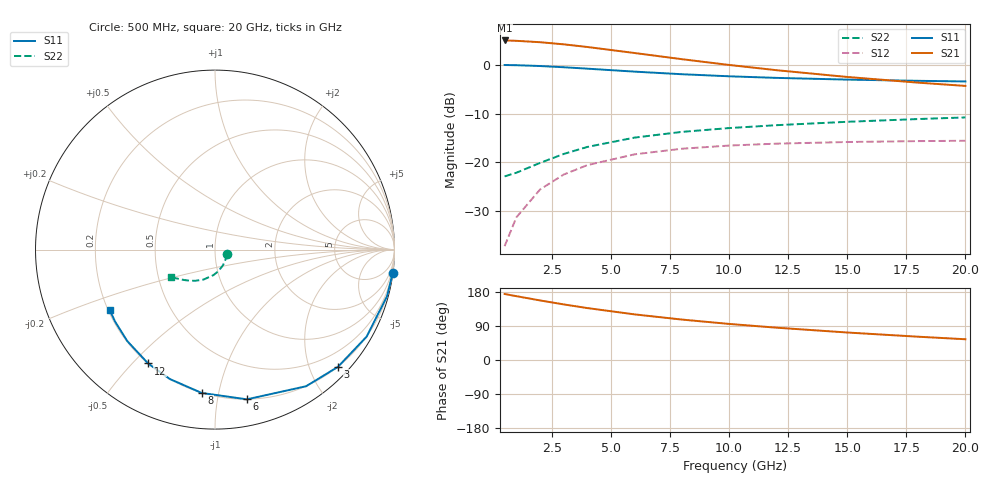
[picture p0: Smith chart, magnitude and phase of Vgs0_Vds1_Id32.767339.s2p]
# Hz S RI R 50
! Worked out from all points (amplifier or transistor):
!   12 points, 500 MHz to 20 GHz, reference 50 ohm
!   highest |S21| = 5.0 dB at 500 MHz (marker M1)
!   |S21| within 3 dB of that: start of sweep to 6.656 GHz
!   unconditionally stable (mu >= 1): 7.987 GHz to end of sweep
!   at 2 GHz: K = 0.25, MSG = 15.2 dB, |S12| = -25.6 dB
!   at 8 GHz: K = 1.00, MAG = 9.0 dB, |S12| = -17.2 dB
!   at 20 GHz: K = 2.33, MAG = -0.8 dB, |S12| = -15.6 dB
!   S11 on the Smith chart (normalised r, x): 500 MHz: 0, -15; 3 GHz: 0.20, -2.48; 6 GHz: 0.20, -1.22; 8 GHz: 0.20, -0.89; 12 GHz: 0.20, -0.55; 20 GHz: 0.21, -0.25
5e8  0.9894 -0.1325  -1.776 0.1812  0.00117 0.0136  0.0673 -0.0236
1e9  0.9584 -0.2602  -1.734 0.3558  0.00461 0.0267  0.0624 -0.0465
2e9  0.8446 -0.4851  -1.579 0.6636  0.0172 0.0494  0.0444 -0.0875
3e9  0.6849 -0.6533  -1.361 0.8939  0.0349 0.0658  0.019 -0.1198
4e9  0.5076 -0.7613  -1.12 1.042  0.0544 0.0755  -0.00954 -0.1429
6e9  0.1775 -0.8343  -0.6708 1.144  0.0907 0.079  -0.0641 -0.1668
8e9  -0.0746 -0.7986  -0.329 1.097  0.1179 0.0703  -0.1082 -0.1736
1e10  -0.2511 -0.7213  -0.0908 0.995  0.1365 0.0573  -0.1423 -0.173
1.2e10  -0.3727 -0.6342  0.0719 0.8799  0.1487 0.0432  -0.1693 -0.1698
1.5e10  -0.489 -0.5094  0.2255 0.717  0.1593 0.0232  -0.2018 -0.1636
1.8e10  -0.5575 -0.3998  0.3139 0.5772  0.1643 0.00519  -0.229 -0.1566
2e10  -0.5869 -0.3351  0.3509 0.4966  0.1657 -0.00563  -0.2453 -0.1513
